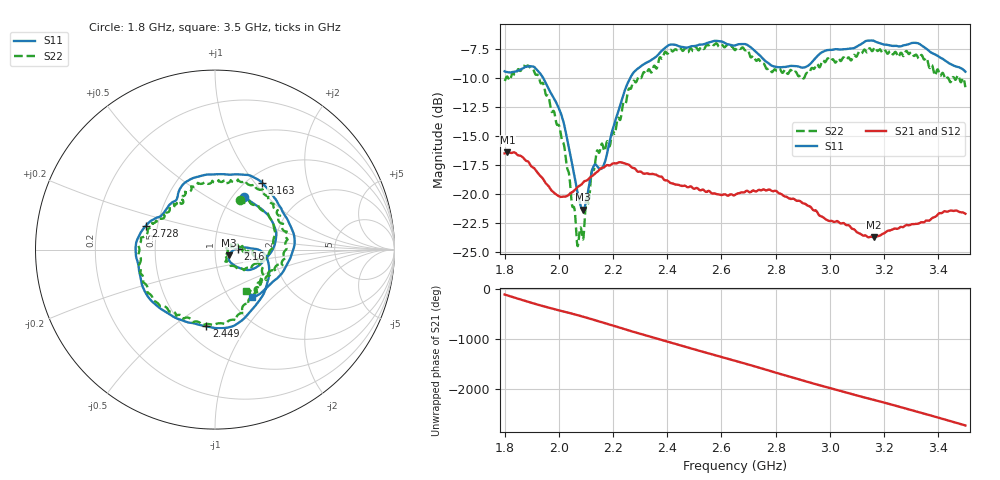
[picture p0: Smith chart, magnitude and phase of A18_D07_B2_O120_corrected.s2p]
! Created with skrf 1.9.0 (http://scikit-rf.org).
# Hz S RI R 50.0
!freq ReS11 ImS11 ReS21 ImS21 ReS12 ImS12 ReS22 ImS22
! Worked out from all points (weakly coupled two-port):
!   1601 points, 1.8 GHz to 3.5 GHz, reference 50 ohm
!   highest |S21| = -16.39 dB at 1.811 GHz (marker M1); lowest = -23.7 dB at 3.162 GHz (marker M2)
!   lowest |S11| = -21.4 dB at 2.09 GHz (marker M3), VSWR 1.19, Z = 58.5 - j3.67 ohm
!   |S11| at or under -10 dB: 1.942 GHz to 2.264 GHz (321.4 MHz wide, 15.3 % of centre)
!   |S22| runs from -24.5 to -7.0 dB; largest |S21 - S12| = 0.0028
!   S11 on the Smith chart (normalised r, x): 1.8 GHz: 1.13, +0.75; 2.16 GHz: 1.30, +0.01; 2.449 GHz: 0.64, -0.67; 2.728 GHz: 0.43, +0.14; 3.163 GHz: 1.16, +1.09; 3.5 GHz: 1.27, -0.76
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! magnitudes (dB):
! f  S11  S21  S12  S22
! 1.8 GHz  -9.4  -16.5  -16.5  -10.3
! 1.811 GHz  -9.5  -16.4  -16.4  -9.9
! 1.886 GHz  -9.0  -17.2  -17.3  -8.9
! 1.941 GHz  -10.0  -18.7  -18.7  -10.4
! 2.013 GHz  -13.4  -20.2  -20.2  -15.4
! 2.067 GHz  -19.6  -19.5  -19.5  -24.1
! 2.084 GHz  -21.2  -19.2  -19.1  -23.2
! 2.09 GHz  -21.4  -19.0  -19.0  -23.9
! 2.128 GHz  -17.6  -18.3  -18.3  -17.9
! 2.16 GHz  -17.8  -17.7  -17.7  -15.7
! 2.26 GHz  -10.2  -17.5  -17.5  -10.9
! 2.367 GHz  -8.0  -18.4  -18.4  -8.6
! 2.449 GHz  -7.3  -19.3  -19.3  -7.4
! 2.65 GHz  -7.2  -20.1  -20.1  -7.6
! 2.728 GHz  -7.8  -19.8  -19.8  -8.5
! 2.8 GHz  -9.0  -19.7  -19.7  -9.3
! 2.934 GHz  -8.6  -21.3  -21.2  -9.1
! 3.162 GHz  -6.8  -23.7  -23.7  -7.5
! 3.163 GHz  -6.8  -23.7  -23.7  -7.4
! 3.217 GHz  -7.2  -23.1  -23.1  -7.8
! 3.325 GHz  -7.0  -22.6  -22.5  -8.2
! 3.5 GHz  -9.5  -21.7  -21.7  -10.8
